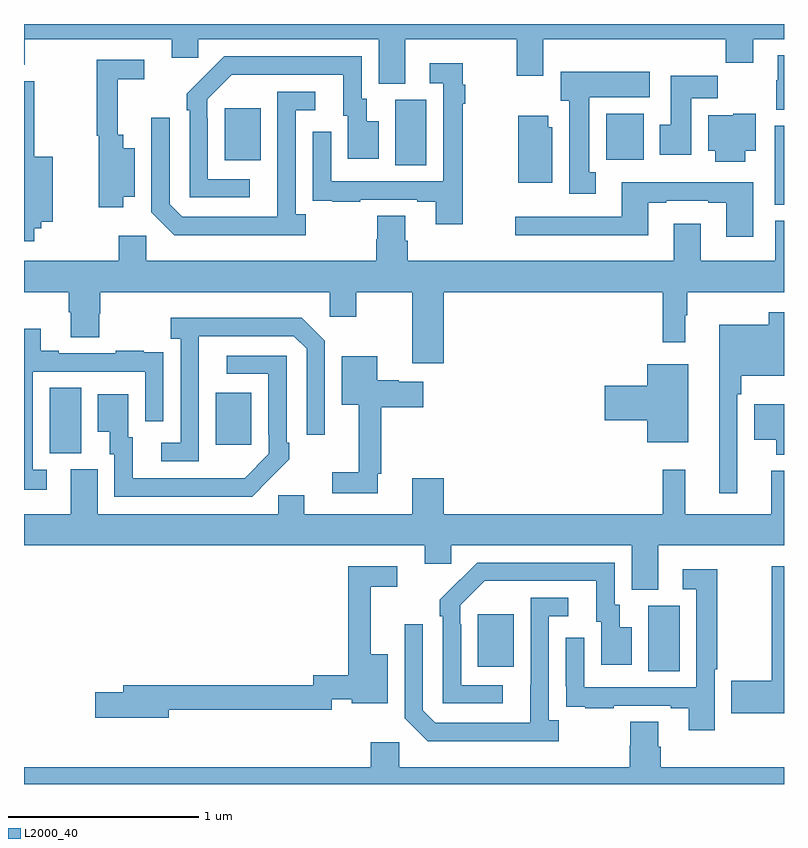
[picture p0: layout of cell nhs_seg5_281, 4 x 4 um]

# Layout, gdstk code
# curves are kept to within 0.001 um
import gdstk
lib = gdstk.Library(unit=1e-6, precision=1e-09)
def R(c, l, rs):  # rectangles x0, y0, x1, y1
    for r in rs: c.add(gdstk.rectangle(r[:2], r[2:], *l))
def P(c, l, *ps):  # polygons
    for p in ps: c.add(gdstk.Polygon(p, *l))
L2000_40 = (2000, 40)

nhs_seg5_281 = lib.new_cell('nhs_seg5_281')
R(nhs_seg5_281, L2000_40, [(130.286,893.392,130.45,893.736), (129.389,893.417,129.577,893.692), (127.136,894.541,127.3,894.884), (128.009,894.585,128.197,894.859), (130.952,895.849,131,896.264), (128.954,896.056,129.118,896.4), (128.057,896.081,128.245,896.356), (130.064,896.084,130.261,896.326)])
P(nhs_seg5_281, L2000_40, [(129.007,896.72),(129.593,896.72),(129.593,896.526),(129.733,896.526),(129.733,896.72),(130.693,896.72),(130.693,896.596),(130.837,896.596),(130.837,896.72),(131,896.72),(131,896.799),(127,896.799),(127,896.584),(127.005,896.584),(127.005,896.72),(127.778,896.72),(127.778,896.622),(127.917,896.622),(127.917,896.72),(128.867,896.72),(128.867,896.485),(129.007,896.485)],
  [(131,896.635),(130.967,896.635),(130.967,896.504),(130.96,896.504),(130.96,896.349),(131,896.349)],
  [(128.188,895.983),(127.968,895.983),(127.968,896.303),(127.965,896.303),(127.965,896.403),(128.094,896.532),(128.681,896.532),(128.681,896.316),(128.705,896.316),(128.705,896.091),(128.866,896.091),(128.866,896.287),(128.803,896.287),(128.803,896.406),(128.778,896.406),(128.778,896.628),(128.054,896.628),(127.857,896.433),(127.857,896.345),(127.872,896.345),(127.872,895.887),(128.188,895.887)],
  [(127.522,895.889),(127.582,895.889),(127.582,896.146),(127.522,896.146),(127.522,896.215),(127.493,896.215),(127.493,896.509),(127.633,896.509),(127.633,896.61),(127.383,896.61),(127.383,896.211),(127.394,896.211),(127.394,895.835),(127.522,895.835)],
  [(129.308,896.38),(129.323,896.38),(129.323,896.48),(129.308,896.48),(129.308,896.593),(129.135,896.593),(129.135,896.487),(129.207,896.487),(129.207,895.971),(128.616,895.971),(128.616,896.233),(128.52,896.233),(128.52,895.978),(128.521,895.978),(128.521,895.869),(128.623,895.869),(128.623,895.863),(128.771,895.863),(128.771,895.875),(129.071,895.875),(129.071,895.863),(129.167,895.863),(129.167,895.746),(129.308,895.746)],
  [(130.009,896.018),(129.976,896.018),(129.976,896.414),(130.294,896.414),(130.294,896.548),(129.824,896.548),(129.824,896.394),(129.869,896.394),(129.869,895.905),(130.009,895.905)],
  [(130.513,896.408),(130.652,896.408),(130.652,896.527),(130.403,896.527),(130.403,896.268),(130.346,896.268),(130.346,896.112),(130.513,896.112)],
  [(127.054,895.724),(127.091,895.724),(127.091,895.757),(127.15,895.757),(127.15,896.101),(127.054,896.101),(127.054,896.499),(127,896.499),(127,895.656),(127.054,895.656)],
  [(128.482,895.798),(128.43,895.798),(128.43,896.346),(128.533,896.346),(128.533,896.442),(128.334,896.442),(128.333,895.785),(127.833,895.785),(127.767,895.851),(127.767,896.305),(127.671,896.305),(127.671,895.809),(127.792,895.688),(128.482,895.688)],
  [(130.795,896.132),(130.852,896.132),(130.852,896.326),(130.734,896.326),(130.734,896.32),(130.601,896.32),(130.601,896.132),(130.637,896.132),(130.637,896.075),(130.795,896.075)],
  [(129.781,896.256),(129.76,896.256),(129.76,896.317),(129.602,896.317),(129.602,895.964),(129.781,895.964)],
  [(130.837,895.966),(130.145,895.966),(130.145,895.785),(129.585,895.785),(129.585,895.688),(130.285,895.688),(130.285,895.857),(130.381,895.857),(130.381,895.869),(130.601,895.869),(130.601,895.857),(130.697,895.857),(130.697,895.68),(130.837,895.68)],
  [(129.208,895.388),(130.363,895.388),(130.363,895.125),(130.48,895.125),(130.48,895.265),(130.492,895.265),(130.492,895.388),(131,895.388),(131,895.764),(130.955,895.764),(130.955,895.552),(130.561,895.552),(130.561,895.747),(130.421,895.747),(130.421,895.552),(129.02,895.552),(129.02,895.658),(129.007,895.658),(129.007,895.79),(128.86,895.79),(128.86,895.665),(128.855,895.665),(128.855,895.552),(127.644,895.552),(127.644,895.684),(127.498,895.684),(127.498,895.552),(127,895.552),(127,895.388),(127.235,895.388),(127.235,895.282),(127.247,895.282),(127.247,895.15),(127.395,895.15),(127.395,895.275),(127.4,895.275),(127.4,895.388),(128.61,895.388),(128.61,895.257),(128.749,895.257),(128.749,895.388),(129.044,895.388),(129.044,895.014),(129.208,895.014)],
  [(130.755,894.851),(130.775,894.851),(130.775,894.947),(131,894.947),(131,895.282),(130.92,895.282),(130.92,895.216),(130.658,895.216),(130.658,894.33),(130.755,894.33)],
  [(127.92,894.955),(127.921,895.155),(128.421,895.155),(128.487,895.089),(128.487,894.636),(128.583,894.636),(128.583,895.131),(128.462,895.252),(127.773,895.252),(127.773,895.142),(127.824,895.142),(127.824,894.594),(127.722,894.594),(127.722,894.498),(127.92,894.498)],
  [(127.12,894.453),(127.047,894.453),(127.047,894.969),(127.638,894.969),(127.638,894.708),(127.734,894.708),(127.734,894.962),(127.733,894.962),(127.733,895.071),(127.631,895.071),(127.631,895.078),(127.483,895.078),(127.483,895.065),(127.183,895.065),(127.183,895.078),(127.087,895.078),(127.087,895.195),(127,895.195),(127,894.348),(127.12,894.348)],
  [(128.291,894.403),(128.292,894.402),(128.397,894.507),(128.397,894.595),(128.382,894.595),(128.382,895.053),(128.067,895.053),(128.067,894.957),(128.286,894.957),(128.286,894.637),(128.289,894.637),(128.289,894.537),(128.161,894.409),(127.573,894.408),(127.573,894.624),(127.549,894.624),(127.549,894.85),(127.388,894.85),(127.388,894.653),(127.451,894.653),(127.451,894.534),(127.476,894.534),(127.476,894.312),(128.2,894.312)],
  [(128.861,894.433),(128.879,894.433),(128.879,894.782),(129.102,894.782),(129.102,894.916),(128.973,894.916),(128.973,894.924),(128.86,894.924),(128.86,895.051),(128.672,895.051),(128.672,894.794),(128.762,894.794),(128.762,894.439),(128.622,894.439),(128.622,894.33),(128.861,894.33)],
  [(130.495,895.009),(130.28,895.009),(130.28,894.896),(130.056,894.896),(130.056,894.713),(130.28,894.713),(130.28,894.599),(130.495,894.599)],
  [(131,894.799),(130.844,894.799),(130.844,894.611),(130.958,894.611),(130.958,894.533),(131,894.533)],
  [(130.339,894.056),(131,894.056),(131,894.448),(130.934,894.448),(130.934,894.22),(130.481,894.22),(130.481,894.454),(130.363,894.454),(130.363,894.22),(129.208,894.22),(129.208,894.409),(129.044,894.409),(129.044,894.22),(128.476,894.22),(128.476,894.318),(128.337,894.318),(128.337,894.22),(127.387,894.22),(127.387,894.456),(127.247,894.456),(127.247,894.22),(127,894.22),(127,894.056),(129.11,894.056),(129.11,893.958),(129.249,893.958),(129.249,894.056),(130.199,894.056),(130.199,893.821),(130.339,893.821)],
  [(129.52,893.319),(129.3,893.319),(129.3,893.639),(129.297,893.639),(129.297,893.739),(129.426,893.868),(130.013,893.868),(130.013,893.652),(130.037,893.652),(130.037,893.427),(130.198,893.427),(130.198,893.623),(130.135,893.623),(130.135,893.742),(130.11,893.742),(130.11,893.964),(129.386,893.964),(129.189,893.769),(129.189,893.681),(129.204,893.681),(129.204,893.223),(129.52,893.223)],
  [(131,893.946),(130.935,893.946),(130.935,893.342),(130.722,893.342),(130.722,893.171),(131,893.171)],
  [(127.762,893.19),(128.619,893.19),(128.619,893.244),(128.726,893.244),(128.726,893.225),(128.914,893.225),(128.914,893.482),(128.825,893.482),(128.825,893.838),(128.965,893.838),(128.965,893.946),(128.707,893.946),(128.707,893.372),(128.523,893.372),(128.523,893.318),(127.523,893.318),(127.523,893.282),(127.374,893.282),(127.374,893.147),(127.762,893.147)],
  [(130.635,893.404),(130.648,893.404),(130.648,893.929),(130.467,893.929),(130.467,893.823),(130.539,893.823),(130.539,893.307),(129.948,893.307),(129.948,893.569),(129.852,893.569),(129.852,893.314),(129.853,893.314),(129.853,893.205),(129.955,893.205),(129.955,893.199),(130.103,893.199),(130.103,893.211),(130.403,893.211),(130.403,893.199),(130.499,893.199),(130.499,893.082),(130.635,893.082)],
  [(129.814,893.134),(129.762,893.134),(129.762,893.682),(129.864,893.682),(129.864,893.778),(129.666,893.778),(129.665,893.121),(129.165,893.121),(129.099,893.187),(129.099,893.641),(129.003,893.641),(129.003,893.145),(129.124,893.024),(129.814,893.024)],
  [(131,892.888),(130.352,892.888),(130.352,892.994),(130.339,892.994),(130.339,893.126),(130.192,893.126),(130.192,893.001),(130.187,893.001),(130.187,892.888),(128.976,892.888),(128.976,893.02),(128.825,893.02),(128.825,892.888),(127,892.888),(127,892.799),(131,892.799)])

lib.write_gds('nhs_seg5_281.gds')
